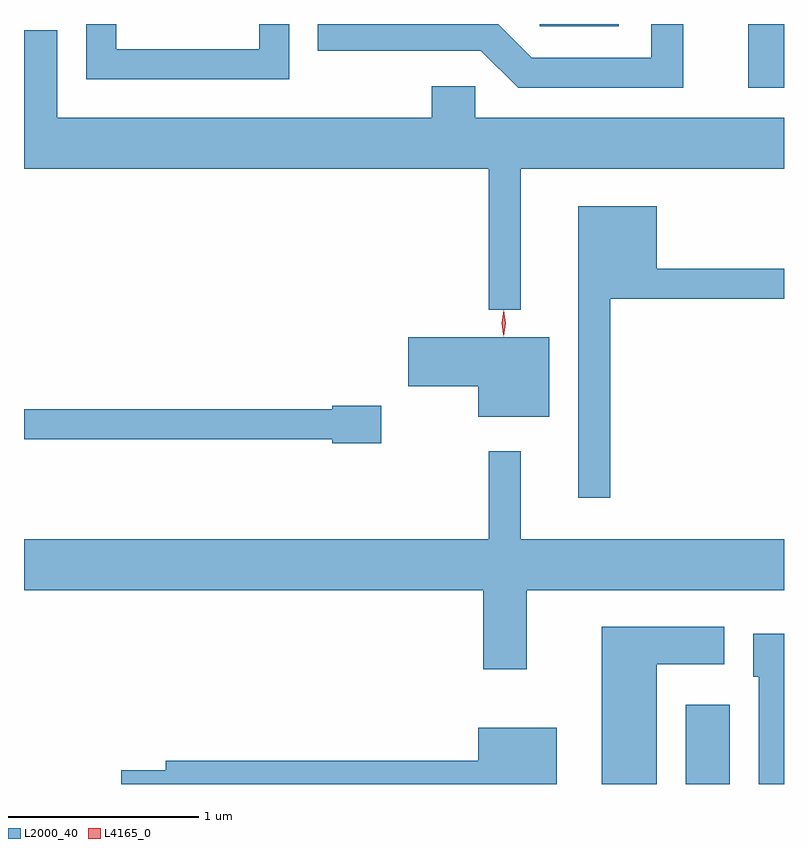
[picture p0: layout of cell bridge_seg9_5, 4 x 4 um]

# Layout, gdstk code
import gdstk
lib = gdstk.Library(unit=1e-6, precision=1e-09)
def R(c, l, rs):  # rectangles x0, y0, x1, y1
    for r in rs: c.add(gdstk.rectangle(r[:2], r[2:], *l))
def P(c, l, *ps):  # polygons
    for p in ps: c.add(gdstk.Polygon(p, *l))
L2000_40 = (2000, 40)
L4165_0 = (4165, 0)

bridge_seg9_5 = lib.new_cell('bridge_seg9_5')
R(bridge_seg9_5, L2000_40, [(1721.916,2012.997,1722.149,2013.414), (1722.246,2016.661,1722.434,2016.997), (1721.148,2016.986,1721.564,2016.997)])
P(bridge_seg9_5, L2000_40, [(1721.904,2016.997),(1721.736,2016.997),(1721.736,2016.819),(1721.107,2016.819),(1720.929,2016.997),(1719.981,2016.997),(1719.981,2016.856),(1720.839,2016.856),(1721.034,2016.661),(1721.904,2016.661)],
  [(1719.829,2016.997),(1719.671,2016.997),(1719.671,2016.864),(1718.919,2016.864),(1718.919,2016.997),(1718.761,2016.997),(1718.761,2016.706),(1719.829,2016.706)],
  [(1721.049,2016.236),(1722.434,2016.236),(1722.434,2016.504),(1720.809,2016.504),(1720.809,2016.669),(1720.581,2016.669),(1720.581,2016.504),(1718.609,2016.504),(1718.609,2016.964),(1718.434,2016.964),(1718.434,2016.236),(1720.881,2016.236),(1720.881,2015.493),(1721.049,2015.493)],
  [(1721.519,2015.551),(1722.434,2015.551),(1722.434,2015.709),(1721.764,2015.709),(1721.764,2016.039),(1721.351,2016.039),(1721.351,2014.503),(1721.519,2014.503)],
  [(1721.199,2015.349),(1720.456,2015.349),(1720.456,2015.091),(1720.826,2015.091),(1720.826,2014.931),(1721.199,2014.931)],
  [(1720.314,2014.989),(1720.056,2014.989),(1720.056,2014.969),(1718.434,2014.969),(1718.434,2014.811),(1720.056,2014.811),(1720.056,2014.791),(1720.314,2014.791)],
  [(1721.079,2014.016),(1722.434,2014.016),(1722.434,2014.284),(1721.049,2014.284),(1721.049,2014.748),(1720.881,2014.748),(1720.881,2014.284),(1718.434,2014.284),(1718.434,2014.016),(1720.851,2014.016),(1720.851,2013.601),(1721.079,2013.601)],
  [(1721.764,2013.626),(1722.119,2013.626),(1722.119,2013.824),(1721.476,2013.824),(1721.476,2012.997),(1721.764,2012.997)],
  [(1722.434,2013.789),(1722.271,2013.789),(1722.271,2013.561),(1722.301,2013.561),(1722.301,2012.997),(1722.434,2012.997)],
  [(1721.239,2013.294),(1720.826,2013.294),(1720.826,2013.119),(1719.181,2013.119),(1719.181,2013.069),(1718.946,2013.069),(1718.946,2012.997),(1721.239,2012.997)])
P(bridge_seg9_5, L4165_0, [(1720.958,2015.354),(1720.958,2015.354),(1720.949,2015.422),(1720.959,2015.49),(1720.96,2015.49),(1720.96,2015.49),(1720.969,2015.422),(1720.959,2015.354)],
  [(1720.958,2015.36),(1720.957,2015.361),(1720.949,2015.424),(1720.959,2015.486),(1720.96,2015.487),(1720.96,2015.486),(1720.969,2015.423),(1720.958,2015.361)])

lib.write_gds('bridge_seg9_5.gds')
